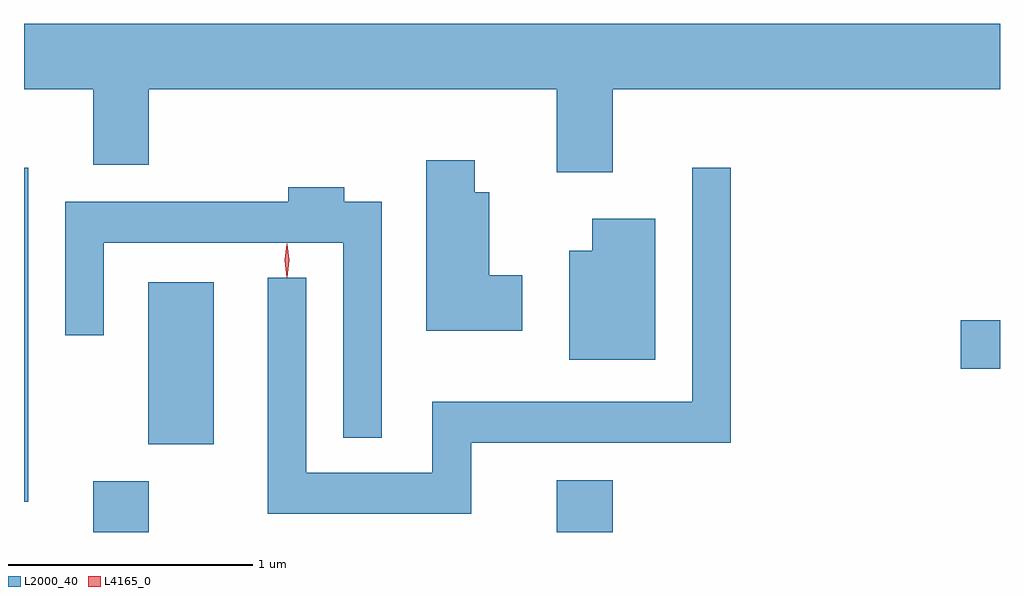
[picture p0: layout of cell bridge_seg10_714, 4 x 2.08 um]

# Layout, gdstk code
import gdstk
lib = gdstk.Library(unit=1e-6, precision=1e-09)
def R(c, l, rs):  # rectangles x0, y0, x1, y1
    for r in rs: c.add(gdstk.rectangle(r[:2], r[2:], *l))
def P(c, l, *ps):  # polygons
    for p in ps: c.add(gdstk.Polygon(p, *l))
L2000_40 = (2000, 40)
L4165_0 = (4165, 0)

bridge_seg10_714 = lib.new_cell('bridge_seg10_714')
R(bridge_seg10_714, L2000_40, [(996.851,2109.88,997.079,2110.089), (998.751,2109.88,998.979,2110.094), (996.567,2110.006,996.584,2111.373), (997.076,2110.241,997.344,2110.904), (1000.406,2110.551,1000.567,2110.749)])
P(bridge_seg10_714, L2000_40, [(998.979,2111.696),(1000.567,2111.696),(1000.567,2111.964),(996.567,2111.964),(996.567,2111.696),(996.851,2111.696),(996.851,2111.386),(997.079,2111.386),(997.079,2111.696),(998.751,2111.696),(998.751,2111.356),(998.979,2111.356)],
  [(998.609,2110.934),(998.474,2110.934),(998.474,2111.274),(998.414,2111.274),(998.414,2111.404),(998.216,2111.404),(998.216,2110.706),(998.609,2110.706)],
  [(998.399,2110.246),(999.464,2110.246),(999.464,2111.373),(999.306,2111.373),(999.306,2110.414),(998.241,2110.414),(998.241,2110.124),(997.724,2110.124),(997.724,2110.923),(997.566,2110.923),(997.566,2109.956),(998.399,2109.956)],
  [(998.034,2111.234),(997.879,2111.234),(997.879,2111.294),(997.651,2111.294),(997.651,2111.234),(996.736,2111.234),(996.736,2110.688),(996.894,2110.688),(996.894,2111.066),(997.876,2111.066),(997.876,2110.268),(998.034,2110.268)],
  [(999.154,2111.164),(998.896,2111.164),(998.896,2111.034),(998.801,2111.034),(998.801,2110.586),(999.154,2110.586)])
P(bridge_seg10_714, L4165_0, [(997.645,2110.927),(997.644,2110.928),(997.635,2110.994),(997.644,2111.06),(997.645,2111.06),(997.645,2111.06),(997.655,2110.994),(997.645,2110.928)],
  [(997.644,2110.924),(997.635,2110.994),(997.644,2111.062),(997.645,2111.063),(997.645,2111.062),(997.655,2110.994),(997.645,2110.924),(997.645,2110.924)])

lib.write_gds('bridge_seg10_714.gds')
